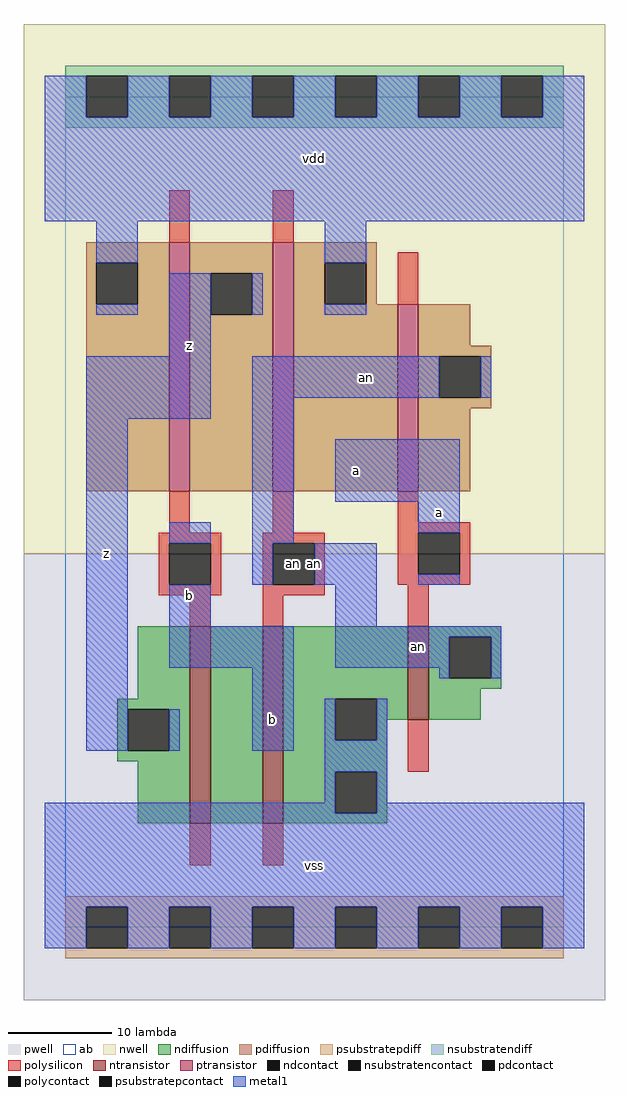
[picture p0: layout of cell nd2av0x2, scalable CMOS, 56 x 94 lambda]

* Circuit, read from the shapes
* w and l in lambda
.subckt nd2av0x2 a an b vdd vss z
M1 n1 b z vss nfet w=19 l=2
M2 vss an n1 vss nfet w=19 l=2
M3 an a vss vss nfet w=9 l=2
M4 z b vdd vdd pfet w=24 l=2
M5 vdd an z vdd pfet w=24 l=2
M6 an a vdd vdd pfet w=18 l=2
.ends

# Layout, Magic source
magic
tech scmos
<< ab >>
rect 0 0 48 80
<< pwell >>
rect -4 -7 52 36
<< nwell >>
rect -4 36 52 87
<< polysilicon >>
rect 10 66 12 71
rect 20 66 22 71
rect 32 60 34 65
rect 10 38 12 42
rect 20 38 22 42
rect 32 39 34 42
rect 32 38 39 39
rect 9 37 15 38
rect 9 33 10 37
rect 14 33 15 37
rect 9 32 15 33
rect 19 37 25 38
rect 19 33 20 37
rect 24 33 25 37
rect 32 34 34 38
rect 38 34 39 38
rect 32 33 39 34
rect 19 32 25 33
rect 12 29 14 32
rect 19 29 21 32
rect 33 29 35 33
rect 33 15 35 20
rect 12 6 14 10
rect 19 6 21 10
<< ndiffusion >>
rect 7 22 12 29
rect 5 21 12 22
rect 5 17 6 21
rect 10 17 12 21
rect 5 16 12 17
rect 7 10 12 16
rect 14 10 19 29
rect 21 22 33 29
rect 21 18 26 22
rect 30 20 33 22
rect 35 28 42 29
rect 35 24 37 28
rect 41 24 42 28
rect 35 23 42 24
rect 35 20 40 23
rect 30 18 31 20
rect 21 15 31 18
rect 21 11 26 15
rect 30 11 31 15
rect 21 10 31 11
<< pdiffusion >>
rect 2 64 10 66
rect 2 60 3 64
rect 7 60 10 64
rect 2 42 10 60
rect 12 63 20 66
rect 12 59 14 63
rect 18 59 20 63
rect 12 42 20 59
rect 22 64 30 66
rect 22 60 25 64
rect 29 60 30 64
rect 22 42 32 60
rect 34 56 39 60
rect 34 55 41 56
rect 34 51 36 55
rect 40 51 41 55
rect 34 50 41 51
rect 34 42 39 50
<< metal1 >>
rect -2 78 2 82
rect 6 78 10 82
rect 14 78 18 82
rect 22 78 26 82
rect 30 78 34 82
rect 38 78 42 82
rect 46 78 50 82
rect -2 68 50 78
rect 3 64 7 68
rect 25 64 29 68
rect 3 59 7 60
rect 10 55 14 63
rect 18 59 19 63
rect 25 59 29 60
rect 2 49 14 55
rect 18 51 36 55
rect 40 51 41 55
rect 2 17 6 49
rect 10 37 14 39
rect 18 37 22 51
rect 26 41 38 47
rect 34 38 38 41
rect 18 33 20 37
rect 24 33 30 37
rect 34 33 38 34
rect 10 29 14 33
rect 26 29 30 33
rect 10 25 22 29
rect 26 28 42 29
rect 26 25 37 28
rect 10 17 11 21
rect 18 17 22 25
rect 36 24 37 25
rect 41 24 42 28
rect 25 18 26 22
rect 30 18 31 22
rect 25 15 31 18
rect 25 12 26 15
rect -2 11 26 12
rect 30 12 31 15
rect 30 11 50 12
rect -2 2 50 11
rect -2 -2 2 2
rect 6 -2 10 2
rect 14 -2 18 2
rect 22 -2 26 2
rect 30 -2 34 2
rect 38 -2 42 2
rect 46 -2 50 2
<< ntransistor >>
rect 12 10 14 29
rect 19 10 21 29
rect 33 20 35 29
<< ptransistor >>
rect 10 42 12 66
rect 20 42 22 66
rect 32 42 34 60
<< polycontact >>
rect 10 33 14 37
rect 20 33 24 37
rect 34 34 38 38
<< ndcontact >>
rect 6 17 10 21
rect 26 18 30 22
rect 37 24 41 28
rect 26 11 30 15
<< pdcontact >>
rect 3 60 7 64
rect 14 59 18 63
rect 25 60 29 64
rect 36 51 40 55
<< psubstratepcontact >>
rect 2 -2 6 2
rect 10 -2 14 2
rect 18 -2 22 2
rect 26 -2 30 2
rect 34 -2 38 2
rect 42 -2 46 2
<< nsubstratencontact >>
rect 2 78 6 82
rect 10 78 14 82
rect 18 78 22 82
rect 26 78 30 82
rect 34 78 38 82
rect 42 78 46 82
<< psubstratepdiff >>
rect 0 2 48 3
rect 0 -2 2 2
rect 6 -2 10 2
rect 14 -2 18 2
rect 22 -2 26 2
rect 30 -2 34 2
rect 38 -2 42 2
rect 46 -2 48 2
rect 0 -3 48 -2
<< nsubstratendiff >>
rect 0 82 48 83
rect 0 78 2 82
rect 6 78 10 82
rect 14 78 18 82
rect 22 78 26 82
rect 30 78 34 82
rect 38 78 42 82
rect 46 78 48 82
rect 0 77 48 78
<< labels >>
rlabel polycontact 22 35 22 35 6 an
rlabel metal1 4 36 4 36 6 z
rlabel metal1 20 20 20 20 6 b
rlabel metal1 12 32 12 32 6 b
rlabel metal1 12 56 12 56 6 z
rlabel metal1 24 6 24 6 6 vss
rlabel metal1 24 35 24 35 6 an
rlabel metal1 28 44 28 44 6 a
rlabel metal1 24 74 24 74 6 vdd
rlabel metal1 34 27 34 27 6 an
rlabel metal1 36 40 36 40 6 a
rlabel metal1 29 53 29 53 6 an
<< end >>
